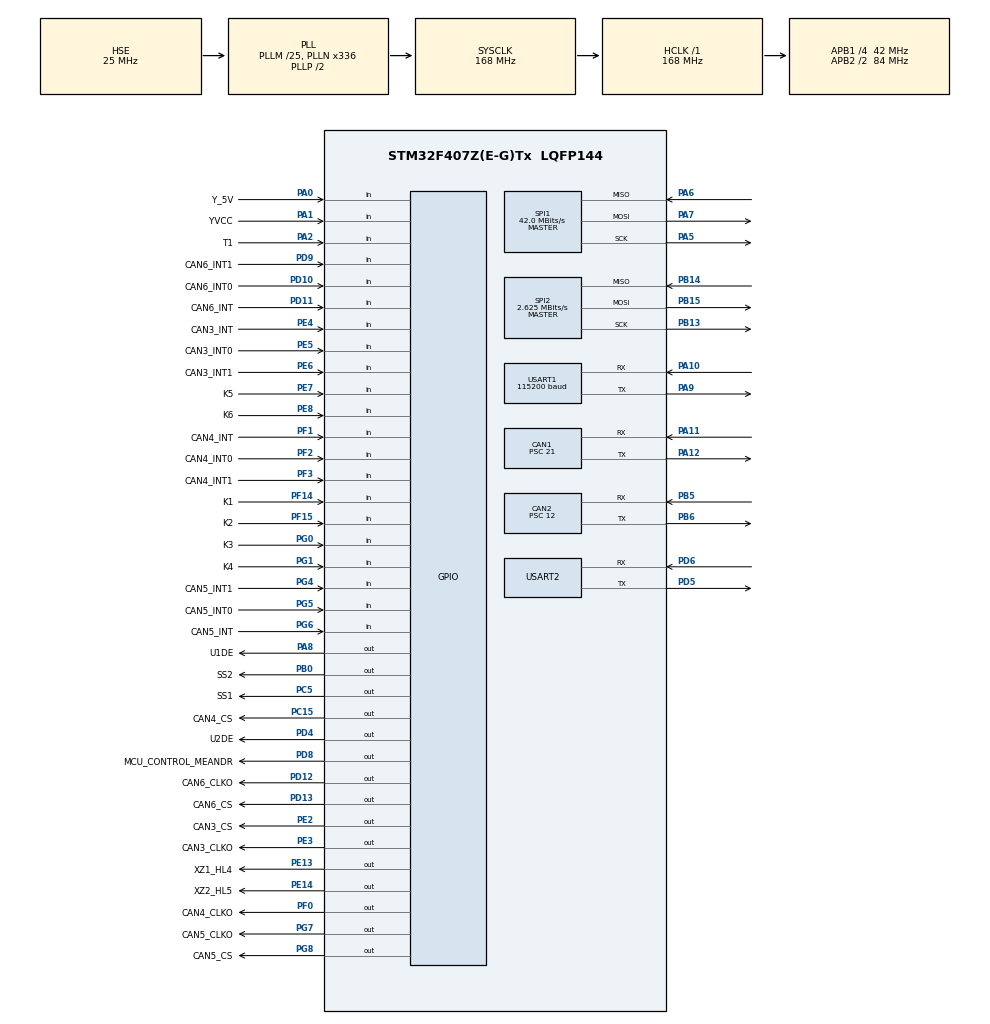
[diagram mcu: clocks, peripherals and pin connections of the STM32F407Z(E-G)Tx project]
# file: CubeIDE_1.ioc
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CAN1.BS1=CAN_BS1_6TQ
CAN1.CalculateBaudRate=250000
CAN1.CalculateTimeBit=4000
CAN1.CalculateTimeQuantum=500.0
CAN1.Prescaler=21
CAN2.BS1=CAN_BS1_11TQ
CAN2.BS2=CAN_BS2_2TQ
CAN2.CalculateBaudRate=250000
CAN2.CalculateTimeBit=4000
CAN2.CalculateTimeQuantum=285.7142857142857
CAN2.Prescaler=12
Dma.Request0=SPI2_TX
Dma.Request1=SPI1_TX
Dma.SPI1_TX.1.Direction=DMA_MEMORY_TO_PERIPH
Dma.SPI1_TX.1.FIFOMode=DMA_FIFOMODE_DISABLE
Dma.SPI1_TX.1.Instance=DMA2_Stream3
Dma.SPI1_TX.1.MemDataAlignment=DMA_MDATAALIGN_BYTE
Dma.SPI1_TX.1.MemInc=DMA_MINC_ENABLE
Dma.SPI1_TX.1.Mode=DMA_NORMAL
Dma.SPI1_TX.1.PeriphDataAlignment=DMA_PDATAALIGN_BYTE
Dma.SPI1_TX.1.PeriphInc=DMA_PINC_DISABLE
Dma.SPI1_TX.1.Priority=DMA_PRIORITY_LOW
Dma.SPI2_TX.0.Direction=DMA_MEMORY_TO_PERIPH
Dma.SPI2_TX.0.FIFOMode=DMA_FIFOMODE_DISABLE
Dma.SPI2_TX.0.Instance=DMA1_Stream4
Dma.SPI2_TX.0.MemDataAlignment=DMA_MDATAALIGN_BYTE
Dma.SPI2_TX.0.MemInc=DMA_MINC_ENABLE
Dma.SPI2_TX.0.Mode=DMA_NORMAL
Dma.SPI2_TX.0.PeriphDataAlignment=DMA_PDATAALIGN_BYTE
Dma.SPI2_TX.0.PeriphInc=DMA_PINC_DISABLE
Dma.SPI2_TX.0.Priority=DMA_PRIORITY_LOW
Mcu.Family=STM32F4
Mcu.Name=STM32F407Z(E-G)Tx
Mcu.Package=LQFP144
NVIC.DMA1_Stream4_IRQn=true\:0\:0\:false\:false\:true\:false\:true\:true
NVIC.DMA2_Stream3_IRQn=true\:0\:0\:false\:false\:true\:false\:true\:true
NVIC.PriorityGroup=NVIC_PRIORITYGROUP_4
NVIC.TIM6_DAC_IRQn=true\:14\:0\:true\:false\:true\:true\:true\:true
NVIC.TIM7_IRQn=true\:15\:0\:true\:false\:true\:true\:true\:true
NVIC.USART1_IRQn=true\:12\:0\:true\:false\:true\:true\:true\:true
PA0-WKUP.GPIO_Label=Y_5V
PA0-WKUP.Signal=GPIO_Input
PA1.GPIO_Label=YVCC
PA1.Signal=GPIO_Input
PA10.Mode=Asynchronous
PA10.Signal=USART1_RX
PA11.Mode=CAN_Activate
PA11.Signal=CAN1_RX
PA12.Mode=CAN_Activate
PA12.Signal=CAN1_TX
PA13.Mode=JTAG_5_pins
PA13.Signal=SYS_JTMS-SWDIO
PA14.Mode=JTAG_5_pins
PA14.Signal=SYS_JTCK-SWCLK
PA15.Mode=JTAG_5_pins
PA15.Signal=SYS_JTDI
PA2.GPIO_Label=T1
PA2.Signal=GPIO_Input
PA5.Mode=Full_Duplex_Master
PA5.Signal=SPI1_SCK
PA6.Mode=Full_Duplex_Master
PA6.Signal=SPI1_MISO
PA7.Mode=Full_Duplex_Master
PA7.Signal=SPI1_MOSI
PA8.GPIO_Label=U1DE
PA8.Signal=GPIO_Output
PA9.Mode=Asynchronous
PA9.Signal=USART1_TX
PB0.GPIO_Label=SS2
PB0.Signal=GPIO_Output
PB13.Mode=Full_Duplex_Master
PB13.Signal=SPI2_SCK
PB14.Mode=Full_Duplex_Master
PB14.Signal=SPI2_MISO
PB15.Mode=Full_Duplex_Master
PB15.Signal=SPI2_MOSI
PB3.Mode=JTAG_5_pins
PB3.Signal=SYS_JTDO-SWO
PB4.Mode=JTAG_5_pins
PB4.Signal=SYS_JTRST
PB5.Mode=CAN_Activate
PB5.Signal=CAN2_RX
PB6.Mode=CAN_Activate
PB6.Signal=CAN2_TX
PC15-OSC32_OUT.GPIO_Label=CAN4_CS
PC15-OSC32_OUT.Signal=GPIO_Output
PC5.GPIO_Label=SS1
PC5.Signal=GPIO_Output
PD10.GPIO_Label=CAN6_INT0
PD10.Signal=GPIO_Input
PD11.GPIO_Label=CAN6_INT
PD11.Signal=GPIO_Input
PD12.GPIO_Label=CAN6_CLKO
PD12.Signal=GPIO_Output
PD13.GPIO_Label=CAN6_CS
PD13.Signal=GPIO_Output
PD4.GPIO_Label=U2DE
PD4.Signal=GPIO_Output
PD5.Mode=Asynchronous
PD5.Signal=USART2_TX
PD6.Mode=Asynchronous
PD6.Signal=USART2_RX
PD8.GPIO_Label=MCU_CONTROL_MEANDR
PD8.Signal=GPIO_Output
PD9.GPIO_Label=CAN6_INT1
PD9.Signal=GPIO_Input
PE13.GPIO_Label=XZ1_HL4
PE13.Signal=GPIO_Output
PE14.GPIO_Label=XZ2_HL5
PE14.Signal=GPIO_Output
PE2.GPIO_Label=CAN3_CS
PE2.Signal=GPIO_Output
PE3.GPIO_Label=CAN3_CLKO
PE3.Signal=GPIO_Output
PE4.GPIO_Label=CAN3_INT
PE4.Signal=GPIO_Input
PE5.GPIO_Label=CAN3_INT0
PE5.Signal=GPIO_Input
PE6.GPIO_Label=CAN3_INT1
PE6.Signal=GPIO_Input
PE7.GPIO_Label=K5
PE7.Signal=GPIO_Input
PE8.GPIO_Label=K6
PE8.Signal=GPIO_Input
PF0.GPIO_Label=CAN4_CLKO
PF0.Signal=GPIO_Output
PF1.GPIO_Label=CAN4_INT
PF1.Signal=GPIO_Input
PF14.GPIO_Label=K1
PF14.Signal=GPIO_Input
PF15.GPIO_Label=K2
PF15.Signal=GPIO_Input
PF2.GPIO_Label=CAN4_INT0
PF2.Signal=GPIO_Input
PF3.GPIO_Label=CAN4_INT1
PF3.Signal=GPIO_Input
PG0.GPIO_Label=K3
PG0.Signal=GPIO_Input
PG1.GPIO_Label=K4
PG1.Signal=GPIO_Input
PG4.GPIO_Label=CAN5_INT1
PG4.Signal=GPIO_Input
PG5.GPIO_Label=CAN5_INT0
PG5.Signal=GPIO_Input
PG6.GPIO_Label=CAN5_INT
PG6.Signal=GPIO_Input
PG7.GPIO_Label=CAN5_CLKO
PG7.Signal=GPIO_Output
PG8.GPIO_Label=CAN5_CS
PG8.Signal=GPIO_Output
PH0-OSC_IN.Mode=HSE-External-Oscillator
PH0-OSC_IN.Signal=RCC_OSC_IN
PH1-OSC_OUT.Mode=HSE-External-Oscillator
PH1-OSC_OUT.Signal=RCC_OSC_OUT
ProjectManager.HeapSize=0x200
ProjectManager.StackSize=0x400
ProjectManager.TargetToolchain=STM32CubeIDE
RCC.48MHZClocksFreq_Value=48000000
RCC.AHBFreq_Value=168000000
RCC.APB1CLKDivider=RCC_HCLK_DIV4
RCC.APB1Freq_Value=42000000
RCC.APB1TimFreq_Value=84000000
RCC.APB2CLKDivider=RCC_HCLK_DIV2
RCC.APB2Freq_Value=84000000
RCC.APB2TimFreq_Value=168000000
RCC.CortexFreq_Value=168000000
RCC.HCLKFreq_Value=168000000
RCC.HSE_VALUE=25000000
RCC.HSI_VALUE=16000000
RCC.LSE_VALUE=32768
RCC.PLLM=25
RCC.PLLN=336
RCC.PLLQ=7
RCC.PLLSourceVirtual=RCC_PLLSOURCE_HSE
RCC.SYSCLKFreq_VALUE=168000000
RCC.SYSCLKSource=RCC_SYSCLKSOURCE_PLLCLK
RCC.VCOOutputFreq_Value=336000000
SPI1.BaudRatePrescaler=SPI_BAUDRATEPRESCALER_2
SPI1.CalculateBaudRate=42.0 MBits/s
SPI1.DataSize=SPI_DATASIZE_8BIT
SPI1.Direction=SPI_DIRECTION_2LINES
SPI1.Mode=SPI_MODE_MASTER
SPI1.VirtualType=VM_MASTER
SPI2.BaudRatePrescaler=SPI_BAUDRATEPRESCALER_16
SPI2.CalculateBaudRate=2.625 MBits/s
SPI2.Direction=SPI_DIRECTION_2LINES
SPI2.Mode=SPI_MODE_MASTER
SPI2.VirtualType=VM_MASTER
TIM6.Period=1000
TIM6.Prescaler=168
TIM7.Period=100
TIM7.Prescaler=420
USART1.BaudRate=115200
USART1.VirtualMode=VM_ASYNC
USART2.VirtualMode=VM_ASYNC
VP_TIM6_VS_ClockSourceINT.Mode=Enable_Timer
VP_TIM7_VS_ClockSourceINT.Mode=Enable_Timer
board=custom

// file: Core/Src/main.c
/* USER CODE BEGIN Header */
/**
  ******************************************************************************
  * @file           : main.c
  * @brief          : Main program body
  ******************************************************************************
  * @attention
  *
  * Copyright (c) 2022 STMicroelectronics.
  * All rights reserved.
  *
  * This software is licensed under terms that can be found in the LICENSE file
  * in the root directory of this software component.
  * If no LICENSE file comes with this software, it is provided AS-IS.
  *
  ******************************************************************************
  */
/* USER CODE END Header */
#include "main.h"
#include "can.h"
#include "dma.h"
#include "spi.h"
#include "tim.h"
#include "usart.h"
#include "gpio.h"

/* USER CODE BEGIN Includes */
#include "drv_canfdspi_defines.h"
#include "drv_canfdspi_register.h"
#include "IO_Board.h"
#include "modbus_ascii.h"
#include "canfd_stm.h"
#include "canfd_stm_config.h"
#include "DMA.h"
/* USER CODE END Includes */

/* USER CODE BEGIN PD */
#define STID (0x7FF<<15)
/* USER CODE END PD */

/* USER CODE BEGIN PV */
CAN_TxHeaderTypeDef TxHeader;
CAN_RxHeaderTypeDef RxHeader;

uint8_t RxData_fifo[8];
uint8_t Unfiltered_CAN_msgs[8];
uint8_t first_packet[8];
uint8_t second_packet[8];
uint8_t third_packet[8];
uint8_t fourth_packet[8];

modbus_ascii_request_msg_t modbus_request_msg;
modbus_ascii_response_msg_t modbus_response_msg;
reqest_info_t request_info;

ModbusTable_t MODBUS_Table;
uint8_t XA2_dir;

uint32_t next_case = 1;

IOboard_request_t IOboard_req;

uint32_t error_notice;
uint32_t position_in_program;

uint32_t IOADCs[] = {CH2, CH3, CH4, CH5, CH7, CH14, CH15};

IOBoard_t io1;
IOBoard_t io2;
IOBoard_t io3;
IOBoard_t io4;

uint8_t usart1_receive_buffer[17];
uint32_t modbus_message_received;

uint32_t allow_placement;

spiCAN spican1;
spiCAN spican2;
spiCAN spican3;
spiCAN spican4;

UsedFIFOs canfd3_fifos = {0};
UsedFIFOs canfd4_fifos = {0};

mcp_status canfd1_status = {0};
mcp_status canfd2_status = {0};
mcp_status canfd3_status = {0};
mcp_status canfd4_status = {0};

CAN_RX_MSGOBJ received_msg = {0};
/* USER CODE END PV */

void SystemClock_Config(void);

int main(void)
{

  /* MCU Configuration--------------------------------------------------------*/

  /* Reset of all peripherals, Initializes the Flash interface and the Systick. */
  HAL_Init();

  /* Configure the system clock */
  SystemClock_Config();

  /* Initialize all configured peripherals */
  MX_GPIO_Init();
  MX_CAN1_Init();
  MX_SPI1_Init();
  MX_SPI2_Init();
  MX_USART1_UART_Init();
  MX_USART2_UART_Init();
  MX_TIM6_Init();
  MX_DMA_Init();
  MX_TIM7_Init();
  MX_CAN2_Init();
  /* USER CODE BEGIN 2 */
  USART1->CR1 |= (1U<<5);	// Enable Receive interrupt
  SPI1->CR1 |= (1U<<6);	// Enable SPI1
  SPI2->CR1 |= (1U<<6);	// Enable SPI2
  IOboard1Init();
  IOboard2Init();
  IOboard3Init();

  //  spiCAN1_Init();
  //  spiCAN2_Init();
  spiCAN3_Init();
  spiCAN4_Init();

  //  DMA_SPI1RXInit();
  DMA_SPI2RXInit();
  DMA_SPI2TXInit();
  //  canfd_configure(&spican1);
  //  canfd_configure(&spican2);
  canfd_configure(&canfd3_fifos, &spican3);
  canfd_configure(&canfd4_fifos, &spican4);

  //  canfd_getStatus(&canfd1_status, &spican1);
  //  canfd_getStatus(&canfd2_status, &spican2);
  canfd_getStatus(&canfd3_status, &spican3);
  canfd_getStatus(&canfd4_status, &spican4);

  HAL_TIM_Base_Start_IT(&htim6);
  HAL_TIM_Base_Start_IT(&htim7);

  /* USER CODE END 2 */

  /* Infinite loop */
  /* USER CODE BEGIN WHILE */

  while (1)
  {
	  position_in_program = IN_MAIN;
	  if(modbus_message_received)
	  {
		__HAL_UART_DISABLE_IT(&huart1, UART_IT_RXNE);
		uint32_t modbus_error = 0;
		reqest_info_t modbus_request = {0};
		modbus_error = check_modbus_request(usart1_receive_buffer, &modbus_request);
		if(modbus_error == 0)
		{
			send_modbus_response(&huart1, &modbus_request);
		}
		modbus_message_received = 0;

		__HAL_UART_ENABLE_IT(&huart1, UART_IT_RXNE);
	  }
	  else
	  {
		  static uint8_t my_message[8] = {0};

		  for(uint32_t i = 0; i < sizeof(my_message); i++)
		  {
			  my_message[i] = i;
		  }
		  canfd_getStatus(&canfd3_status, &spican3);
		  canfd_getStatus(&canfd4_status, &spican4);

		  __HAL_UART_ENABLE_IT(&huart1, UART_IT_RXNE);
	  }

    /* USER CODE END WHILE */

  }
}

void SystemClock_Config(void)
{
  RCC_OscInitTypeDef RCC_OscInitStruct = {0};
  RCC_ClkInitTypeDef RCC_ClkInitStruct = {0};

  /** Configure the main internal regulator output voltage
  */
  __HAL_RCC_PWR_CLK_ENABLE();
  __HAL_PWR_VOLTAGESCALING_CONFIG(PWR_REGULATOR_VOLTAGE_SCALE1);

  /** Initializes the RCC Oscillators according to the specified parameters
  * in the RCC_OscInitTypeDef structure.
  */
  RCC_OscInitStruct.OscillatorType = RCC_OSCILLATORTYPE_HSE;
  RCC_OscInitStruct.HSEState = RCC_HSE_ON;
  RCC_OscInitStruct.PLL.PLLState = RCC_PLL_ON;
  RCC_OscInitStruct.PLL.PLLSource = RCC_PLLSOURCE_HSE;
  RCC_OscInitStruct.PLL.PLLM = 25;
  RCC_OscInitStruct.PLL.PLLN = 336;
  RCC_OscInitStruct.PLL.PLLP = RCC_PLLP_DIV2;
  RCC_OscInitStruct.PLL.PLLQ = 7;
  if (HAL_RCC_OscConfig(&RCC_OscInitStruct) != HAL_OK)
  {
    Error_Handler();
  }

  /** Initializes the CPU, AHB and APB buses clocks
  */
  RCC_ClkInitStruct.ClockType = RCC_CLOCKTYPE_HCLK|RCC_CLOCKTYPE_SYSCLK
                              |RCC_CLOCKTYPE_PCLK1|RCC_CLOCKTYPE_PCLK2;
  RCC_ClkInitStruct.SYSCLKSource = RCC_SYSCLKSOURCE_PLLCLK;
  RCC_ClkInitStruct.AHBCLKDivider = RCC_SYSCLK_DIV1;
  RCC_ClkInitStruct.APB1CLKDivider = RCC_HCLK_DIV4;
  RCC_ClkInitStruct.APB2CLKDivider = RCC_HCLK_DIV2;

  if (HAL_RCC_ClockConfig(&RCC_ClkInitStruct, FLASH_LATENCY_5) != HAL_OK)
  {
    Error_Handler();
  }
}

/* USER CODE BEGIN 4 */
//void HAL_CAN_RxFifo0MsgPendingCallback(CAN_HandleTypeDef *hcan)
//{
//	uint8_t id = (hcan->Instance->sFIFOMailBox[0].RIR & STID)>>21;
//	switch(id)
//	{
//		case 20:
//			HAL_CAN_GetRxMessage(&hcan2, CAN_RX_FIFO0, &RxHeader, RxData_fifo);
//			for(int i = 0; i < 8; i++)
//			{
//				first_packet[i] = RxData_fifo[i];
//			}
//			break;
//		case 21:
//			HAL_CAN_GetRxMessage(&hcan2, CAN_RX_FIFO0, &RxHeader, RxData_fifo);
//			for(int i = 0; i < 8; i++)
//			{
//				second_packet[i] = RxData_fifo[i];
//			}
//			break;
//		case 22:
//			HAL_CAN_GetRxMessage(&hcan2, CAN_RX_FIFO0, &RxHeader, RxData_fifo);
//			for(int i = 0; i < 8; i++)
//			{
//				third_packet[i] = RxData_fifo[i];
//			}
//			break;
//		case 23:
//			HAL_CAN_GetRxMessage(&hcan2, CAN_RX_FIFO0, &RxHeader, RxData_fifo);
//			for(int i = 0; i < 8; i++)
//			{
//				fourth_packet[i] = RxData_fifo[i];
//			}
//			break;
//		default:
//			break;
//	}
//	allow_placement = 1;
//}
void HAL_USART_RxCpltCallback(UART_HandleTypeDef *huart)
{
	return;
}

void SPI_Transmit (uint8_t *data, int size, SPI_TypeDef * SPIx)
{

	/************** STEPS TO FOLLOW *****************
	1. Wait for the TXE bit to set in the Status Register
	2. Write the data to the Data Register
	3. After the data has been transmitted, wait for the BSY bit to reset in Status Register
	4. Clear the Overrun flag by reading DR and SR
	************************************************/

	int i=0;
	while (i<size)
	{
	   while (!((SPIx->SR)&(1<<1))) {};  // wait for TXE bit to set -> This will indicate that the buffer is empty
	   SPIx->DR = data[i];  // load the data into the Data Register
	   i++;
	}

/*During discontinuous communications, there is a 2 APB clock period delay between the
write operation to the SPI_DR register and BSY bit setting. As a consequence it is
mandatory to wait first until TXE is set and then until BSY is cleared after writing the last
data.
*/
	while (!((SPIx->SR)&(1<<1))) {};  // wait for TXE bit to set -> This will indicate that the buffer is empty
	while (((SPIx->SR)&(1<<7))) {};  // wait for BSY bit to Reset -> This will indicate that SPI is not busy in communication

	//  Clear the Overrun flag by reading DR and SR
	uint8_t temp = SPIx->DR;
	temp = SPIx->SR;

}

void SPI_Receive (uint8_t *data, int size, SPI_TypeDef * SPIx)
{
	/************** STEPS TO FOLLOW *****************
	1. Wait for the BSY bit to reset in Status Register
	2. Send some Dummy data before reading the DATA
	3. Wait for the RXNE bit to Set in the status Register
	4. Read data from Data Register
	************************************************/

	while (size)
	{
		while (((SPIx->SR) & (1<<7))) {};  // wait for BSY bit to Reset -> This will indicate that SPI is not busy in communication
		SPIx->DR = 0;  // send dummy data
		while (!((SPIx->SR) & (1<<0))){};  // Wait for RXNE to set -> This will indicate that the Rx buffer is not empty
	  *data++ = (SPIx->DR);
		size--;
	}
	//  Clear the Overrun flag by reading DR and SR
	uint32_t temp = SPIx->SR;
}
/* USER CODE END 4 */

void Error_Handler(void)
{
  __disable_irq();
  while (1)
  {
  }
}
